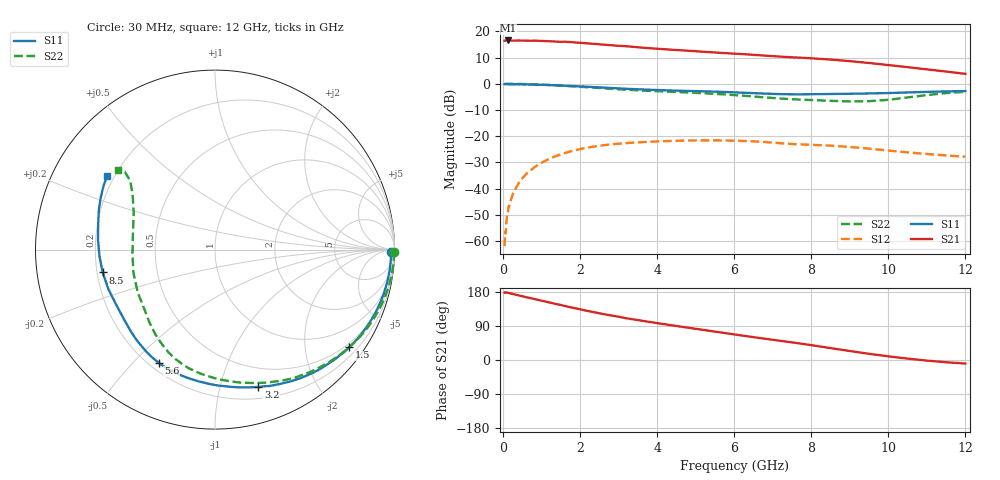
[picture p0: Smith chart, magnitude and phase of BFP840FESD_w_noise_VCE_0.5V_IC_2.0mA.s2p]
! Infineon Technologies  Discrete & RF Semiconductors
! BFP840FESD
! VCE =  0.5 V,  IC =  2.0 mA
! Common Emitter S-Parameters:  May 2012
# GHz  S  MA  R  50
!  f  S11  S21  S12  S22
! GHz  MAG  ANG  MAG  ANG  MAG  ANG  MAG  ANG
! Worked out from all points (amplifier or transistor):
!   103 points, 30 MHz to 12 GHz, reference 50 ohm
!   highest |S21| = 16.5 dB at 120 MHz (marker M1)
!   |S21| within 3 dB of that: start of sweep to 3.834 GHz
!   unconditionally stable (mu >= 1): 8.481 GHz to end of sweep
!   at 400 MHz: K = 0.02, MSG = 27.2 dB, |S12| = -37.8 dB
!   at 3.7 GHz: K = 0.23, MSG = 17.9 dB, |S12| = -22.2 dB
!   at 12 GHz: K = 1.64, MAG = 11.2 dB, |S12| = -27.9 dB
!   lowest NFmin = 0.53 dB at 450 MHz
!   S11 on the Smith chart (normalised r, x): 30 MHz: 69, -52; 1.5 GHz: 0.40, -3.03; 3.2 GHz: 0.31, -1.32; 5.6 GHz: 0.24, -0.59; 8.5 GHz: 0.22, -0.10; 12 GHz: 0.17, +0.30
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0.03  0.9817 -0.8  6.628 177.6  0.0008 69.7  0.9973 -0.8
0.04  0.9818 -1.0  6.621 177.5  0.0013 77.0  0.9981 -1.0
0.05  0.9822 -1.3  6.646 178.7  0.0015 109.0  0.999 -1.2
0.06  0.9817 -1.4  6.638 178.5  0.0014 116.2  0.9971 -1.4
0.09  0.9809 -2.2  6.693 177.8  0.0029 90.4  0.9981 -2.1
0.12  0.9811 -2.9  6.702 177.3  0.0036 88.6  0.9976 -2.9
0.25  0.9805 -6.1  6.675 174.1  0.0081 86.3  0.9963 -6.1
0.6  0.9718 -14.6  6.636 165.5  0.0193 78.4  0.9843 -14.7
0.9  0.9597 -21.8  6.613 158.7  0.0285 72.1  0.9682 -22.0
1.5  0.9257 -36.0  6.318 144.9  0.0453 59.8  0.9215 -36.8
1.7  0.9097 -40.8  6.274 140.0  0.0503 55.7  0.9028 -41.8
2.1  0.8825 -49.8  5.97 131.4  0.059 47.8  0.8659 -51.5
2.6  0.8456 -60.4  5.579 121.2  0.0673 38.9  0.8207 -62.7
3.2  0.8021 -72.5  5.191 110.1  0.0739 29.7  0.7698 -74.8
4.1  0.756 -89.4  4.601 95.7  0.0802 18.4  0.7157 -90.3
5.6  0.7042 -116.5  3.906 73.4  0.0831 1.8  0.636 -112.6
6.1  0.6807 -125.3  3.727 66.0  0.0819 -3.6  0.601 -120.0
7.2  0.6354 -144.6  3.294 50.5  0.0735 -12.8  0.5232 -137.4
8.5  0.6389 -168.5  2.895 31.4  0.0661 -18.2  0.473 -163.6
9.5  0.654 175.3  2.491 16.3  0.0579 -22.2  0.4656 169.3
10.5  0.6835 161.3  2.074 3.7  0.0492 -21.3  0.5493 146.6
12  0.7272 145.7  1.547 -9.4  0.0405 -11.4  0.7012 140.5
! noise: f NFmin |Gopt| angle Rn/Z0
0.45  0.53  0.68  7  0.31
0.9  0.58  0.66  13  0.29
1.5  0.65  0.62  21  0.26
1.9  0.68  0.58  29  0.26
2.4  0.72  0.56  36  0.26
3.5  0.75  0.53  55  0.24
5.5  0.89  0.4  89  0.18
8  1.18  0.35  149  0.13
10  1.43  0.38  -169  0.11
12  1.63  0.52  -136  0.14
